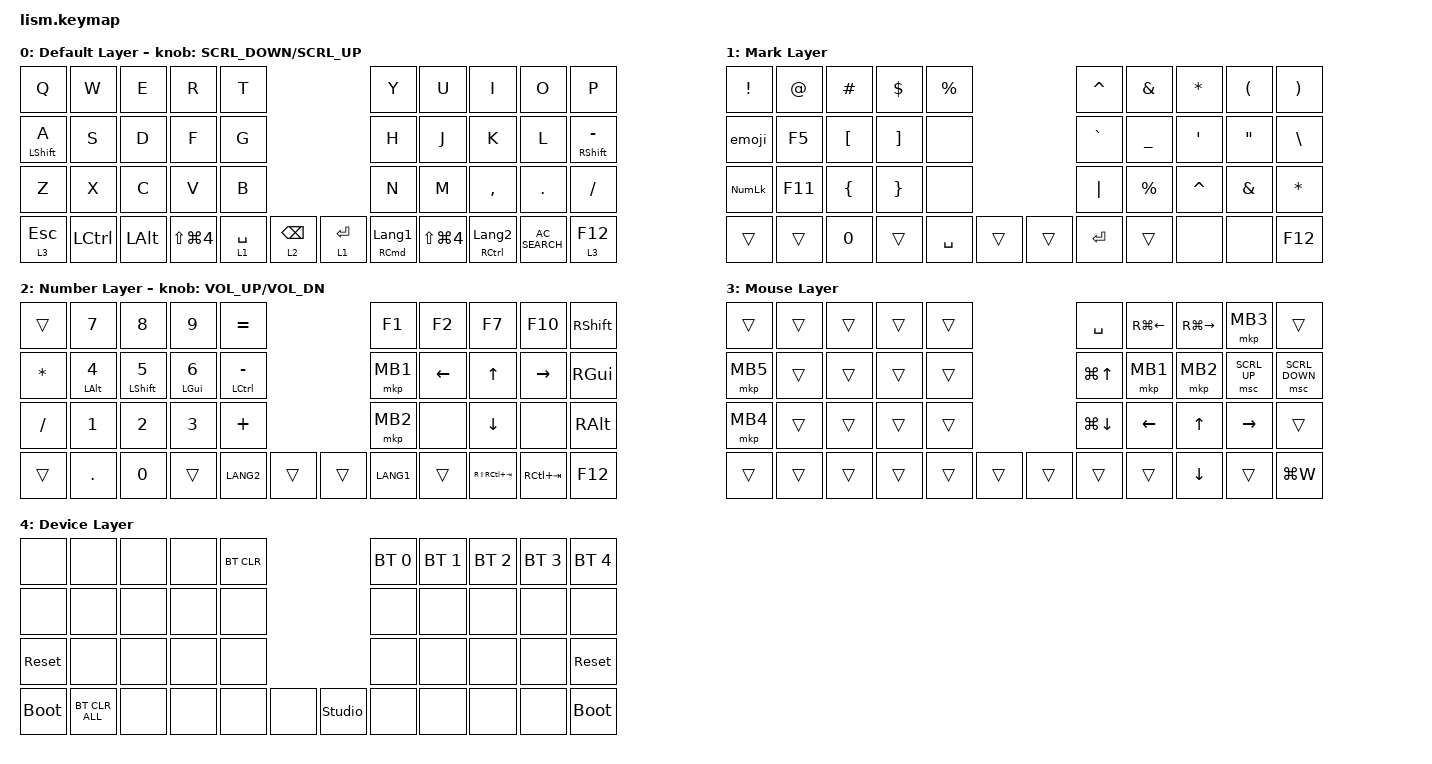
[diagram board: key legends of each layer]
#define ZMK_POINTING_DEFAULT_SCRL_VAL 200

#include <dt-bindings/zmk/mouse.h>
#include <behaviors.dtsi>
#include <dt-bindings/zmk/bt.h>
#include <dt-bindings/zmk/keys.h>
#include <dt-bindings/zmk/pointing.h>

&mt {
    tapping-term-ms = <300>;
    flavor = "balanced";
};

&lt { quick-tap-ms = <300>; };

/ {
    macros {
        emoji: emoji_macro {
            compatible = "zmk,behavior-macro";
            label = "EMOJI";
            #binding-cells = <0>;
            bindings =
                <&macro_press>,
                <&kp CAPSLOCK>,
                <&macro_tap>,
                <&kp E>,
                <&macro_release>,
                <&kp CAPSLOCK>;
        };

        LG_macro: LG_macro {
            compatible = "zmk,behavior-macro";
            #binding-cells = <0>;
            bindings =
                <&kp SPACE>,
                <&macro_press>,
                <&kp RIGHT_COMMAND>,
                <&macro_tap>;

            label = "LG_MACRO";
        };
    };

    behaviors {
        encoder_msc: sensor_rotate_msc {
            compatible = "zmk,behavior-sensor-rotate-var";
            #sensor-binding-cells = <2>;
            bindings = <&msc>, <&msc>;

            tap-ms = <20>;
        };

        encoder_kp: sensor_rotate_kp {
            compatible = "zmk,behavior-sensor-rotate-var";
            #sensor-binding-cells = <2>;
            bindings = <&kp>, <&kp>;
        };
    };

    keymap {
        compatible = "zmk,keymap";

        default_layer {
            display-name = "Default Layer";
            bindings = <
&kp Q         &kp W      &kp E         &kp R           &kp T                                        &kp Y                         &kp U           &kp I                         &kp O            &kp P
&mt LSHIFT A  &kp S      &kp D         &kp F           &kp G                                        &kp H                         &kp J           &kp K                         &kp L            &mt RSHIFT MINUS
&kp Z         &kp X      &kp C         &kp V           &kp B                                        &kp N                         &kp M           &kp COMMA                     &kp DOT          &kp SLASH
&lt 3 ESC     &kp LCTRL  &kp LEFT_ALT  &kp LS(LG(N4))  &lt 1 SPACE  &lt 2 BACKSPACE    &lt 1 ENTER  &mt RIGHT_COMMAND LANGUAGE_1  &kp LS(LG(N4))  &mt RIGHT_CONTROL LANGUAGE_2  &kp C_AC_SEARCH  &lt 3 F12
            >;

            sensor-bindings = <&encoder_msc SCRL_DOWN SCRL_UP>;
        };

        layer1_mark {
            display-name = "Mark Layer";
            bindings = <
&kp EXCLAMATION  &kp AT_SIGN  &kp HASH          &kp DOLLAR         &kp PERCENT                    &kp CARET  &kp AMPERSAND  &kp ASTERISK      &kp LEFT_PARENTHESIS  &kp RIGHT_PARENTHESIS
&emoji           &kp F5       &kp LEFT_BRACKET  &kp RIGHT_BRACKET  &none                          &kp GRAVE  &kp UNDER      &kp SINGLE_QUOTE  &kp DOUBLE_QUOTES     &kp BACKSLASH
&kp KP_NUMLOCK   &kp F11      &kp LEFT_BRACE    &kp RIGHT_BRACE    &none                          &kp PIPE   &kp PERCENT    &kp CARET         &kp AMPERSAND         &kp ASTERISK
&trans           &trans       &kp NUMBER_0      &trans             &kp SPACE    &trans    &trans  &kp ENTER  &trans         &none             &none                 &kp F12
            >;
        };

        layer2_number {
            display-name = "Number Layer";
            bindings = <
&trans        &kp NUMBER_7       &kp NUMBER_8         &kp NUMBER_9       &kp EQUAL                          &kp F1     &kp F2    &kp F7           &kp F10      &kp RSHIFT
&kp ASTERISK  &mt LALT NUMBER_4  &mt LSHIFT NUMBER_5  &mt LGUI NUMBER_6  &mt LCTRL MINUS                    &mkp MB1   &kp LEFT  &kp UP           &kp RIGHT    &kp RGUI
&kp SLASH     &kp NUMBER_1       &kp NUMBER_2         &kp NUMBER_3       &kp PLUS                           &mkp MB2   &none     &kp DOWN         &none        &kp RALT
&trans        &kp DOT            &kp NUMBER_0         &trans             &kp LANG2        &trans    &trans  &kp LANG1  &trans    &kp RS(RC(TAB))  &kp RC(TAB)  &kp F12
            >;

            sensor-bindings = <&encoder_kp C_VOL_UP C_VOL_DN>;
        };

        layer3_con {
            status = "reserved";
            display-name = "Brank Layer";
            bindings = <
&trans  &trans  &trans  &trans  &trans                    &trans  &trans  &trans  &trans  &trans
&trans  &trans  &trans  &trans  &trans                    &trans  &trans  &trans  &trans  &trans
&trans  &trans  &trans  &trans  &trans                    &trans  &trans  &trans  &trans  &trans
&trans  &trans  &trans  &trans  &trans  &trans    &trans  &trans  &trans  &trans  &trans  &trans
            >;
        };

        layer4_mouse {
            display-name = "Mouse Layer";
            bindings = <
&trans    &trans  &trans  &trans  &trans                    &kp SPACE     &kp RG(LEFT)  &kp RG(RIGHT)  &mkp MB3      &trans
&mkp MB5  &trans  &trans  &trans  &trans                    &kp LG(UP)    &mkp MB1      &mkp MB2       &msc SCRL_UP  &msc SCRL_DOWN
&mkp MB4  &trans  &trans  &trans  &trans                    &kp LG(DOWN)  &kp LEFT      &kp UP         &kp RIGHT     &trans
&trans    &trans  &trans  &trans  &trans  &trans    &trans  &trans        &trans        &kp DOWN       &trans        &kp LG(W)
            >;
        };

        layer_4 {
            display-name = "Device Layer";
            bindings = <
&none        &none           &none  &none  &bt BT_CLR                           &bt BT_SEL 0  &bt BT_SEL 1  &bt BT_SEL 2  &bt BT_SEL 3  &bt BT_SEL 4
&none        &none           &none  &none  &none                                &none         &none         &none         &none         &none
&sys_reset   &none           &none  &none  &none                                &none         &none         &none         &none         &sys_reset
&bootloader  &bt BT_CLR_ALL  &none  &none  &none       &none    &studio_unlock  &none         &none         &none         &none         &bootloader
            >;
        };

        layer_6 {
            status = "reserved";
            display-name = "Brank Layer";
            bindings = <
&trans  &trans  &trans  &trans  &trans                    &trans  &trans  &trans  &trans  &trans
&trans  &trans  &trans  &trans  &trans                    &trans  &trans  &trans  &trans  &trans
&trans  &trans  &trans  &trans  &trans                    &trans  &trans  &trans  &trans  &trans
&trans  &trans  &trans  &trans  &trans  &trans    &trans  &trans  &trans  &trans  &trans  &trans
            >;
        };

        layer_7 {
            status = "reserved";
            display-name = "Brank Layer";
            bindings = <
&trans  &trans  &trans  &trans  &trans                    &trans  &trans  &trans  &trans  &trans
&trans  &trans  &trans  &trans  &trans                    &trans  &trans  &trans  &trans  &trans
&trans  &trans  &trans  &trans  &trans                    &trans  &trans  &trans  &trans  &trans
&trans  &trans  &trans  &trans  &trans  &trans    &trans  &trans  &trans  &trans  &trans  &trans
            >;
        };
    };
};
